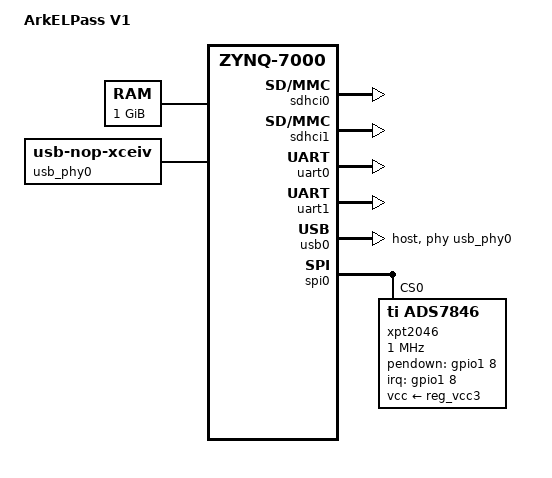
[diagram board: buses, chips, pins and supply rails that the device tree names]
// SPDX-License-Identifier: GPL-2.0+
/dts-v1/;
#include "xilinx/zynq-7000.dtsi"
#include "pl.dtsi"
#include <dt-bindings/gpio/gpio.h>

/ {
	model = "ArkELPass V1";
	compatible = "rhodesisland,elpass", "xlnx,zynq-7000";

	aliases {
		serial0 = &uart0;
		display0 = &el_display_engine_0;
	};

	memory@0 {
		device_type = "memory";
		reg = <0x0 0x40000000>;
	};

	chosen {
		bootargs = "";
		stdout-path = "serial0:115200n8";
	};

	usb_phy0: phy0 {
		#phy-cells = <0>;
		compatible = "usb-nop-xceiv";
	};
};

&clkc {
	ps-clk-frequency = <50000000>;
};

&sdhci0 {
	status = "okay";
};

&sdhci1 {
	status = "okay";
};

&uart0 {
	status = "okay";
};

&uart1 {
	status = "okay";
};

&usb0 {
	status = "okay";
	dr_mode = "host";
	usb-phy = <&usb_phy0>;
};

&spi0 {
	xpt2046@0 {
		reg = <0>;	/* CS0 */
		compatible = "ti,ads7846";
		interrupt-parent = <&gpio1>;
		interrupts = <8 0>;	/* BOOT6 / GPIO 8 */
		spi-max-frequency = <1000000>;
		pendown-gpio = <&gpio1 8 0>;
		vcc-supply = <&reg_vcc3>;

		ti,x-min = /bits/ 16 <0>;
		ti,x-max = /bits/ 16 <8000>;
		ti,y-min = /bits/ 16 <0>;
		ti,y-max = /bits/ 16 <4800>;
		ti,x-plate-ohms = /bits/ 16 <40>;
		ti,pressure-max = /bits/ 16 <255>;

		wakeup-source;
	};
};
